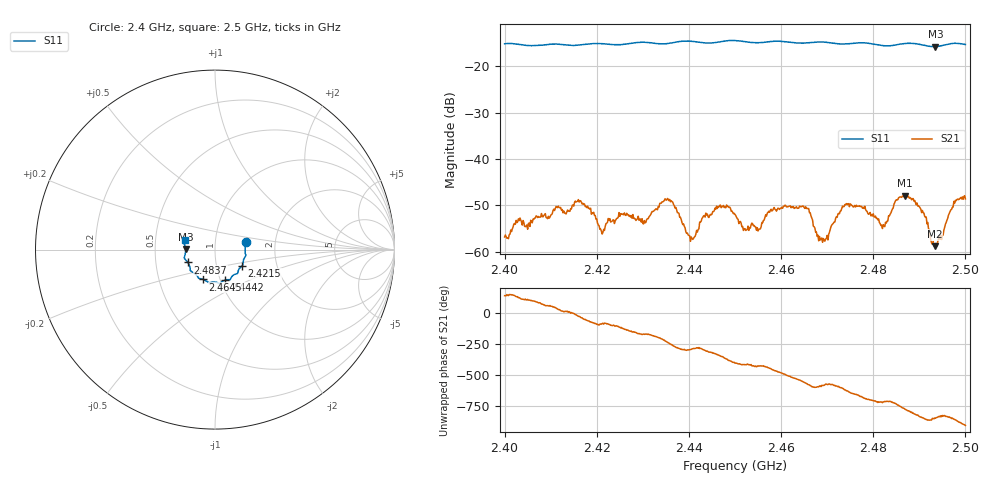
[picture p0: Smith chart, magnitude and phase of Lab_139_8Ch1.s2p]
# Hz S RI R 50
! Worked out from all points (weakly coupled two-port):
!   601 points, 2.4 GHz to 2.5 GHz, reference 50 ohm
!   highest |S21| = -47.93 dB at 2.4868 GHz (marker M1); lowest = -58.8 dB at 2.4933 GHz (marker M2)
!   lowest |S11| = -15.7 dB at 2.4935 GHz (marker M3), VSWR 1.39, Z = 35.9 + j0.284 ohm
!   |S11| at or under -10 dB: start of sweep to end of sweep
!   S12 and S22 are empty: the file has one direction only
!   S11 on the Smith chart (normalised r, x): 2.4 GHz: 1.41, +0.12; 2.4215 GHz: 1.33, -0.25; 2.4442 GHz: 1.05, -0.37; 2.4645 GHz: 0.83, -0.29; 2.4837 GHz: 0.73, -0.11; 2.5 GHz: 0.71, +0.07
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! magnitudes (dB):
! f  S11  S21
! 2.4 GHz  -15.1  -56.8
! 2.4167 GHz  -15.3  -49.4
! 2.4215 GHz  -15.1  -55.2
! 2.4333 GHz  -15.1  -50.3
! 2.436 GHz  -15.0  -49.2
! 2.4407 GHz  -14.6  -57.2
! 2.4442 GHz  -15.0  -52.5
! 2.45 GHz  -14.4  -52.0
! 2.4552 GHz  -14.9  -55.2
! 2.4582 GHz  -14.6  -51.1
! 2.4645 GHz  -15.0  -50.3
! 2.4667 GHz  -14.8  -52.8
! 2.469 GHz  -14.7  -58.0
! 2.4742 GHz  -15.1  -49.6
! 2.4833 GHz  -15.5  -52.3
! 2.4837 GHz  -15.5  -51.9
! 2.4868 GHz  -15.0  -47.9
! 2.4905 GHz  -15.3  -51.6
! 2.4933 GHz  -15.7  -58.8
! 2.4935 GHz  -15.7  -58.3
! 2.4977 GHz  -15.0  -49.5
! 2.5 GHz  -15.3  -48.6
